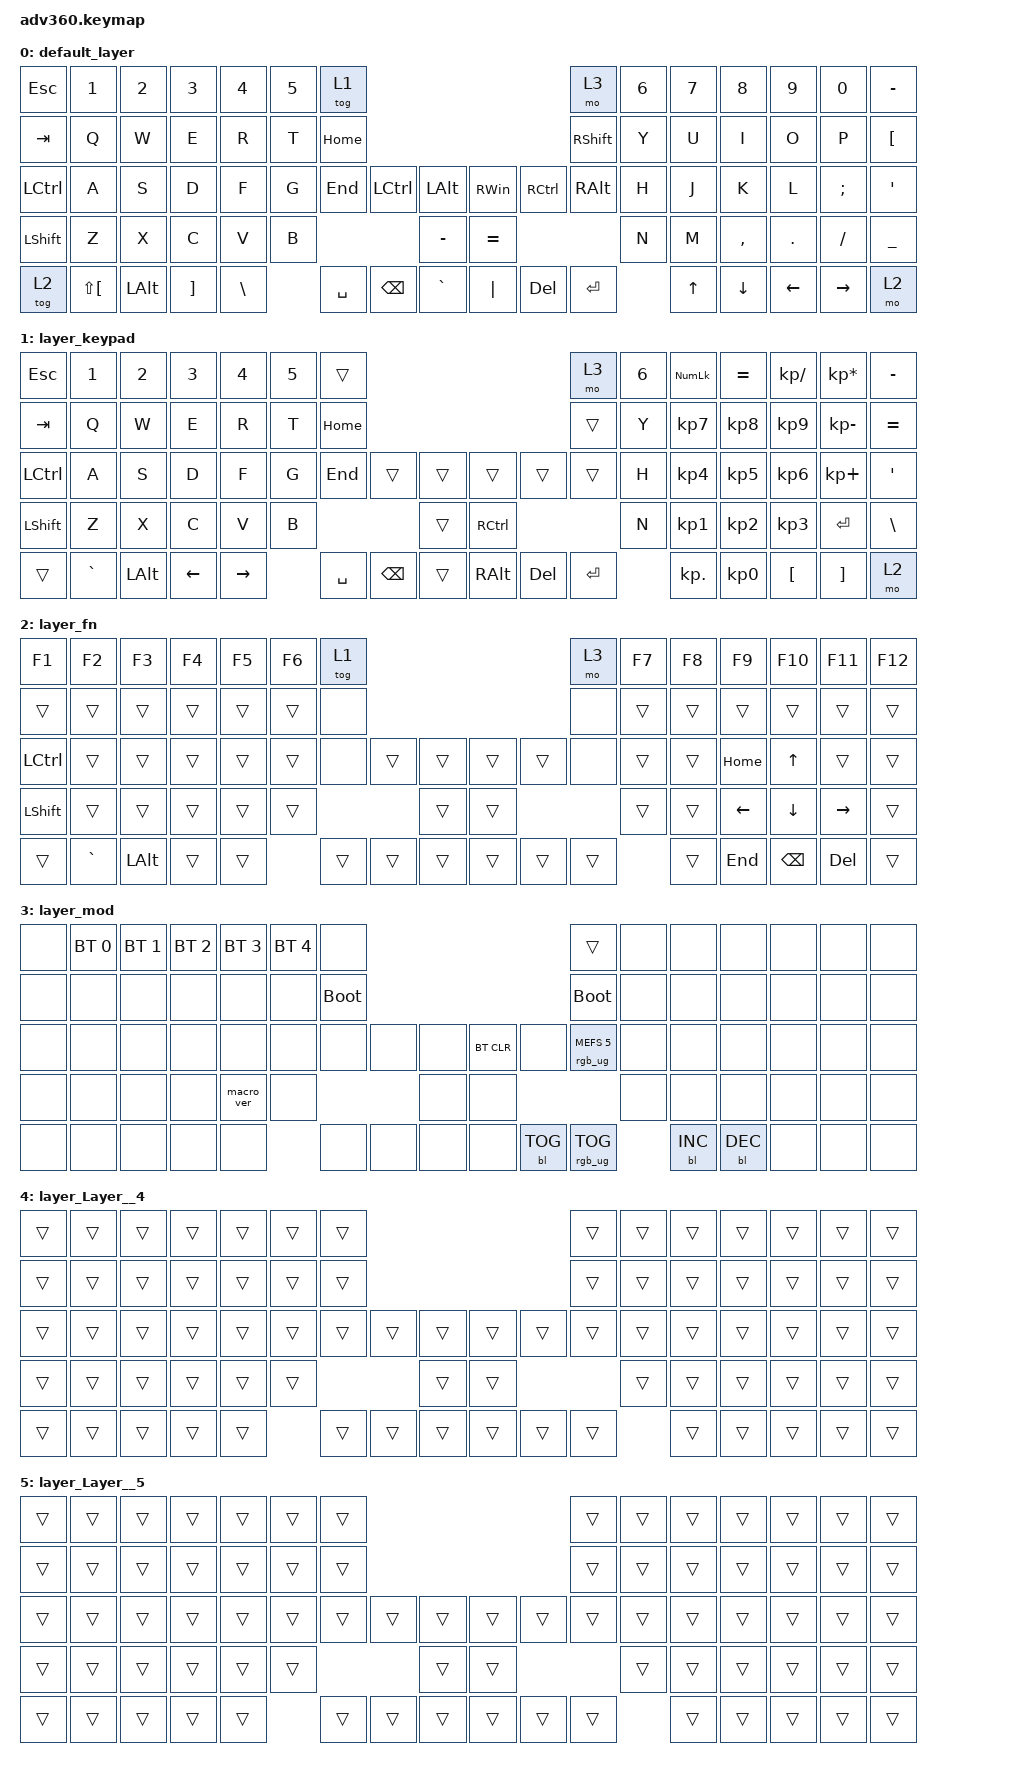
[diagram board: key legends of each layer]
/*
 * Copyright (c) 2020 The ZMK Contributors
 *
 * SPDX-License-Identifier: MIT
 */
/* THIS FILE WAS GENERATED!
 *
 * This file was generated automatically. You may or may not want to
 * edit it directly.
 */

#include <behaviors.dtsi>
#include <dt-bindings/zmk/backlight.h>
#include <dt-bindings/zmk/bt.h>
#include <dt-bindings/zmk/keys.h>
#include <dt-bindings/zmk/rgb.h>

/ {
    behaviors {
        #include "macros.dtsi"
    #include "version.dtsi"

        hm: homerow_mods {
            compatible = "zmk,behavior-hold-tap";
            label = "HOMEROW_MODS";
            #binding-cells = <2>;
            tapping-term-ms = <200>;
            quick_tap_ms = <175>;
            flavor = "tap-preferred";
            bindings = <&kp>, <&kp>;
        };
    };

    keymap {
        compatible = "zmk,keymap";

        default_layer {
            bindings = <
&kp ESC    &kp N1                &kp N2        &kp N3             &kp N4         &kp N5  &tog 1                                                                 &mo 3            &kp N6  &kp N7  &kp N8     &kp N9    &kp N0     &kp MINUS
&kp TAB    &kp Q                 &kp W         &kp E              &kp R          &kp T   &kp HOME                                                               &kp RIGHT_SHIFT  &kp Y   &kp U   &kp I      &kp O     &kp P      &kp LEFT_BRACKET
&kp LCTRL  &kp A                 &kp S         &kp D              &kp F          &kp G   &kp END    &kp LCTRL      &kp LEFT_ALT      &kp RIGHT_WIN  &kp RCTRL   &kp RIGHT_ALT    &kp H   &kp J   &kp K      &kp L     &kp SEMI   &kp APOS
&kp LSHFT  &kp Z                 &kp X         &kp C              &kp V          &kp B                             &kp MINUS         &kp EQUAL                                   &kp N   &kp M   &kp COMMA  &kp DOT   &kp SLASH  &kp UNDERSCORE
&tog 2     &kp LS(LEFT_BRACKET)  &kp LEFT_ALT  &kp RIGHT_BRACKET  &kp BACKSLASH          &kp SPACE  &kp BACKSPACE  &kp GRAVE         &kp PIPE       &kp DELETE  &kp ENTER                &kp UP  &kp DOWN   &kp LEFT  &kp RIGHT  &mo 2
            >;
        };

        layer_keypad {
            bindings = <
&kp ESC    &kp N1     &kp N2        &kp N3    &kp N4     &kp N5  &trans                                                        &mo 3      &kp N6  &kp KP_NUM       &kp EQUAL        &kp KP_SLASH     &kp KP_MULTIPLY  &kp MINUS
&kp TAB    &kp Q      &kp W         &kp E     &kp R      &kp T   &kp HOME                                                      &trans     &kp Y   &kp KP_N7        &kp KP_N8        &kp KP_NUMBER_9  &kp KP_MINUS     &kp EQUAL
&kp LCTRL  &kp A      &kp S         &kp D     &kp F      &kp G   &kp END    &trans         &trans      &trans         &trans   &trans     &kp H   &kp KP_NUMBER_4  &kp KP_NUMBER_5  &kp KP_NUMBER_6  &kp KP_PLUS      &kp SQT
&kp LSHFT  &kp Z      &kp X         &kp C     &kp V      &kp B                             &trans      &kp RCTRL                          &kp N   &kp KP_NUMBER_1  &kp KP_NUMBER_2  &kp KP_NUMBER_3  &kp ENTER        &kp BSLH
&trans     &kp GRAVE  &kp LEFT_ALT  &kp LEFT  &kp RIGHT          &kp SPACE  &kp BACKSPACE  &trans      &kp RIGHT_ALT  &kp DEL  &kp ENTER          &kp KP_DOT       &kp KP_NUMBER_0  &kp LBKT         &kp RBKT         &mo 2
            >;
        };

        layer_fn {
            bindings = <
&kp F1          &kp F2     &kp F3        &kp F4  &kp F5  &kp F6  &tog 1                                      &mo 3   &kp F7  &kp F8  &kp F9    &kp F10        &kp F11     &kp F12
&trans          &trans     &trans        &trans  &trans  &trans  &none                                       &none   &trans  &trans  &trans    &trans         &trans      &trans
&kp LCTRL       &trans     &trans        &trans  &trans  &trans  &none   &trans  &trans      &trans  &trans  &none   &trans  &trans  &kp HOME  &kp UP         &trans      &trans
&kp LEFT_SHIFT  &trans     &trans        &trans  &trans  &trans                  &trans      &trans                  &trans  &trans  &kp LEFT  &kp DOWN       &kp RIGHT   &trans
&trans          &kp GRAVE  &kp LEFT_ALT  &trans  &trans          &trans  &trans  &trans      &trans  &trans  &trans          &trans  &kp END   &kp BACKSPACE  &kp DELETE  &trans
            >;
        };

        layer_mod {
            bindings = <
&none  &bt BT_SEL 0  &bt BT_SEL 1  &bt BT_SEL 2  &bt BT_SEL 3  &bt BT_SEL 4  &none                                                  &trans                  &none  &none       &none       &none  &none  &none
&none  &none         &none         &none         &none         &none         &bootloader                                            &bootloader             &none  &none       &none       &none  &none  &none
&none  &none         &none         &none         &none         &none         &none        &none  &none      &bt BT_CLR  &none       &rgb_ug RGB_MEFS_CMD 5  &none  &none       &none       &none  &none  &none
&none  &none         &none         &none         &macro_ver    &none                             &none      &none                                           &none  &none       &none       &none  &none  &none
&none  &none         &none         &none         &none                       &none        &none  &none      &none       &bl BL_TOG  &rgb_ug RGB_TOG                &bl BL_INC  &bl BL_DEC  &none  &none  &none
            >;
        };

        layer_Layer__4 {
            bindings = <
&trans  &trans  &trans  &trans  &trans  &trans  &trans                                      &trans  &trans  &trans  &trans  &trans  &trans  &trans
&trans  &trans  &trans  &trans  &trans  &trans  &trans                                      &trans  &trans  &trans  &trans  &trans  &trans  &trans
&trans  &trans  &trans  &trans  &trans  &trans  &trans  &trans  &trans      &trans  &trans  &trans  &trans  &trans  &trans  &trans  &trans  &trans
&trans  &trans  &trans  &trans  &trans  &trans                  &trans      &trans                  &trans  &trans  &trans  &trans  &trans  &trans
&trans  &trans  &trans  &trans  &trans          &trans  &trans  &trans      &trans  &trans  &trans          &trans  &trans  &trans  &trans  &trans
            >;
        };

        layer_Layer__5 {
            bindings = <
&trans  &trans  &trans  &trans  &trans  &trans  &trans                                      &trans  &trans  &trans  &trans  &trans  &trans  &trans
&trans  &trans  &trans  &trans  &trans  &trans  &trans                                      &trans  &trans  &trans  &trans  &trans  &trans  &trans
&trans  &trans  &trans  &trans  &trans  &trans  &trans  &trans  &trans      &trans  &trans  &trans  &trans  &trans  &trans  &trans  &trans  &trans
&trans  &trans  &trans  &trans  &trans  &trans                  &trans      &trans                  &trans  &trans  &trans  &trans  &trans  &trans
&trans  &trans  &trans  &trans  &trans          &trans  &trans  &trans      &trans  &trans  &trans          &trans  &trans  &trans  &trans  &trans
            >;
        };
    };
};
